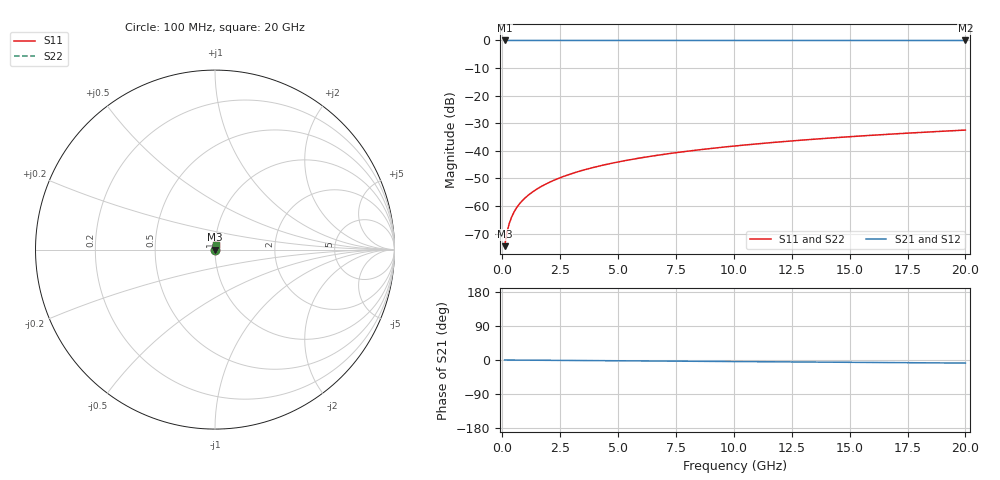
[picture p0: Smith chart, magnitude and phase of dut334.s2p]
! Touchstone file exported from HFSS 2026.1.0
!  File:  C:/ffzhzh/LocalFiles/Ansys_Project_Files/temp_train_TSV_334_1783018641_53980.aedt
!  Generated:  02:59:10 AM Jul  3, 2026
!  Design:  TSV
!  Project:  temp_train_TSV_334_1783018641_53980
! Variables:
!  h_bsmrdl = 2um
!  h_ox = 20um
!  h_rdl = 5um
!  h_sub = 76.57um
!  h_tmrdl = 5um
!  h_tsv = 76.57um
!  h_via = 3um
!  l_bsmrdl = 300um
!  l_sub = 422.46um
!  l_tmrdl = 200um
!  m_sub = 200um
!  pitch = 54.46um
!  r_tsv = 11.23um
!  s_tmrdl = 10um
!  w_bsmrdl = 18um
!  w_sub = 500um
!  w_tmrdl = 12um
!  x_tsv_center1 = 206um
!  x_tsv_center2 = 524um
!  x_tsv_center3 = 736um
!  x_tsv_center4 = 1054um
!  x_tsv_center5 = 1266um
!  x_tsv_center6 = 1584um
# GHz S MA R 50.000000
! Terminal data exported
! Port[1] = TSV1_1_T1
! Port[2] = TSV1_1_T2
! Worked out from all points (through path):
!   200 points, 100 MHz to 20 GHz, reference 50 ohm
!   highest |S21| = 0.00 dB at 100 MHz (marker M1); lowest = 0.0 dB at 20 GHz (marker M2)
!   group delay of S21, straight-line fit = 1.12 ps
!   lowest |S11| = -74.5 dB at 100 MHz (marker M3), VSWR 1.00, Z = 50 + j0.0158 ohm
!   |S11| at or under -10 dB: start of sweep to end of sweep
!   |S22| runs from -74.5 to -32.5 dB; largest |S21 - S12| = 3.5e-15
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0.1  0.0001881 57.3  0.9999 -0.0  0.9999 -0.0  0.0001881 57.3
! Gamma 0 0 0 0
! Port Impedance 50 0 50 0
0.2  0.0003336 70.2  0.9999 -0.1  0.9999 -0.1  0.0003336 70.2
0.3  0.0004828 74.4  0.9999 -0.1  0.9999 -0.1  0.0004828 74.4
0.4  0.000629 76.2  0.9999 -0.2  0.9999 -0.2  0.000629 76.2
0.5  0.0007707 77.1  0.9998 -0.2  0.9998 -0.2  0.0007707 77.1
0.6  0.0009079 77.6  0.9998 -0.3  0.9998 -0.3  0.0009079 77.6
0.7  0.001041 78.0  0.9998 -0.3  0.9998 -0.3  0.001041 78.0
0.9  0.001299 78.7  0.9998 -0.4  0.9998 -0.4  0.001299 78.7
1.1  0.00155 79.3  0.9997 -0.5  0.9997 -0.5  0.00155 79.3
1.3  0.001797 79.8  0.9997 -0.5  0.9997 -0.5  0.001797 79.8
1.6  0.002165 80.5  0.9997 -0.7  0.9997 -0.7  0.002165 80.5
1.9  0.002532 81.1  0.9996 -0.8  0.9996 -0.8  0.002532 81.1
2.6  0.003389 82.1  0.9996 -1.1  0.9996 -1.1  0.003389 82.1
3.5  0.004486 82.7  0.9995 -1.4  0.9995 -1.4  0.004486 82.7
4.2  0.005336 82.8  0.9995 -1.7  0.9995 -1.7  0.005336 82.8
5  0.0063 82.9  0.9994 -2.0  0.9994 -2.0  0.0063 82.9
6.8  0.008449 82.8  0.9993 -2.8  0.9993 -2.8  0.008449 82.8
8.3  0.01023 82.6  0.9992 -3.4  0.9992 -3.4  0.01023 82.6
10.1  0.01234 82.2  0.9991 -4.1  0.9991 -4.1  0.01234 82.2
13.4  0.0162 81.4  0.999 -5.4  0.999 -5.4  0.0162 81.4
16.7  0.02003 80.3  0.9988 -6.8  0.9988 -6.8  0.02003 80.3
20  0.02382 79.2  0.9986 -8.1  0.9986 -8.1  0.02382 79.2
